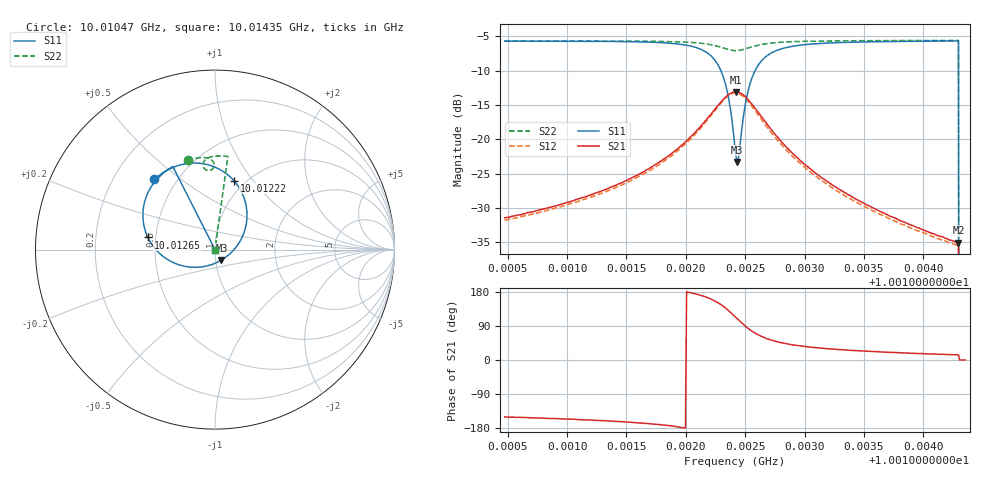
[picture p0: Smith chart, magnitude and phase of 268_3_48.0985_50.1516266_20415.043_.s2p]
#  HZ  S  RI  R  50.00
! Rohde & Schwarz Vector Network Analyzer
! Rohde-Schwarz,ZNB20-2Port,1311601062101988,3.16
! Created: UTC 12/23/2023, 4:01:29 AM
! freq[Hz]  re:S11  im:S11  re:S21  im:S21  re:S12  im:S12  re:S22  im:S22
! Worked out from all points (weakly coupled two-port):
!   401 points, 10.01047 GHz to 10.01435 GHz, reference 50 ohm
!   highest |S21| = -13.09 dB at 10.01242 GHz (marker M1); lowest = -35.0 dB at 10.0143 GHz (marker M2)
!   lowest |S11| = -23.3 dB at 10.01243 GHz (marker M3), VSWR 1.15, Z = 53.3 - j6.26 ohm
!   |S11| at or under -10 dB: 10.01229 GHz to 10.01258 GHz (288.9 kHz wide, 0.00289 % of centre); 10.0143 GHz to end of sweep
!   |S22| runs from - to -5.6 dB; largest |S21 - S12| = 0.01
!   S11 on the Smith chart (normalised r, x): 10.01047 GHz: 0.38, +0.40; 10.01222 GHz: 0.89, +0.81; 10.01265 GHz: 0.45, +0.07; 10.01435 GHz: 1.00, +0.00
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1.0010474e10  -0.3385 0.3916  -0.0232 -0.0134  -0.0217 -0.014  -0.1526 0.4965
1.0011124e10  -0.2815 0.4336  -0.0347 -0.0142  -0.0326 -0.0154  -0.109 0.5081
1.0011774e10  -0.1664 0.4778  -0.0669 -0.0114  -0.0637 -0.0145  -0.0577 0.5128
1.0012065e10  -0.0305 0.4705  -0.1091 0.00806  -0.1058 0.00159  -0.0265 0.5048
1.001222e10  0.1051 0.3844  -0.1459 0.0545  -0.1451 0.0451  -0.00797 0.486
1.0012288e10  0.1638 0.2824  -0.1554 0.0977  -0.1571 0.0878  -0.005 0.4698
1.0012337e10  0.1778 0.1725  -0.1484 0.139  -0.1514 0.1306  -0.00881 0.4561
1.0012376e10  0.1518 0.0701  -0.1272 0.1744  -0.1324 0.1656  -0.0177 0.446
1.0012414e10  0.0829 -0.024  -0.0917 0.2017  -0.0975 0.194  -0.0308 0.4405
1.0012424e10  0.0614 -0.0414  -0.0822 0.2058  -0.0874 0.1988  -0.0343 0.4402
1.0012434e10  0.0358 -0.0584  -0.0712 0.2095  -0.0761 0.2026  -0.0382 0.4404
1.0012453e10  -0.0166 -0.0829  -0.0499 0.2129  -0.0544 0.2064  -0.0452 0.4417
1.0012492e10  -0.127 -0.0984  -0.00721 0.2077  -0.0128 0.2015  -0.057 0.4488
1.0012531e10  -0.224 -0.0761  0.027 0.1902  0.0209 0.1845  -0.064 0.4592
1.0012647e10  -0.3741 0.0679  0.0693 0.1239  0.0622 0.1204  -0.0635 0.4875
1.0012822e10  -0.3994 0.2274  0.0661 0.0649  0.0604 0.0643  -0.0448 0.5076
1.0013064e10  -0.367 0.3301  0.0496 0.0328  0.0455 0.0334  -0.0203 0.5172
1.0013715e10  -0.2874 0.4265  0.026 0.00967  0.0243 0.0106  0.0313 0.5217
1.0014277e10  -0.2367 0.4623  0.0173 0.00435  0.0163 0.00484  0.0705 0.519
1.0014297e10  -0.2351 0.463  0.0173 0.00413  0.016 0.00482  0.0716 0.5189
1.0014326e10  0 0  0 0  0 0  0 0
1.0014355e10  0 0  0 0  0 0  0 0
